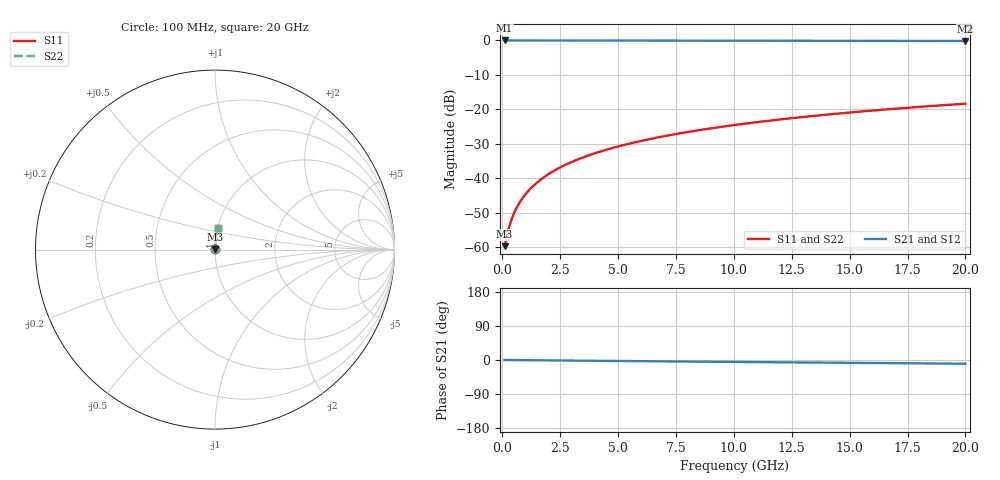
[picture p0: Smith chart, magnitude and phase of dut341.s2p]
! Touchstone file exported from HFSS 2024.1.0
!  File:  C:/UserFiles/LocalFiles/RDL_TSV_Batchsim/temp_RDL_bottom_341_1779611961.aedt
!  Generated:  04:41:45 PM May 24, 2026
!  Design:  RDL_bottom
!  Project:  temp_RDL_bottom_341_1779611961
!  Setup:  Setup1
!  Solution:  Sweep
! Variables:
!  dtsv = 10.80580581um
!  hbump = 3um
!  htsv = 82.89um
!  ldown = 108.64um
!  lrdl = 100um
!  p = 40
!  p1 = 41.01um
!  rhole = 1um
!  t = 450um
!  tdown = 3.71um
!  trdl = 3.915915916um
!  wdown = 15.64um
!  wrdl = 20um
# GHz S MA R 50.000000
! Terminal data exported
! Port[1] = RDL1_T1
! Port[2] = RDL1_T2
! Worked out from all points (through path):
!   200 points, 100 MHz to 20 GHz, reference 50 ohm
!   highest |S21| = -0.01 dB at 100 MHz (marker M1); lowest = -0.2 dB at 20 GHz (marker M2)
!   group delay of S21, straight-line fit = 1.35 ps
!   lowest |S11| = -59.6 dB at 100 MHz (marker M3), VSWR 1.00, Z = 50.1 + j0.0613 ohm
!   |S11| at or under -10 dB: start of sweep to end of sweep
!   |S22| runs from -59.6 to -18.3 dB; largest |S21 - S12| = 2.4e-15
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0.1  0.001044 35.9  0.9992 -0.1  0.9992 -0.1  0.001044 35.9
! Gamma 0 0 0 0
! Port Impedance 50 0 50 0
0.2  0.001492 54.4  0.9991 -0.1  0.9991 -0.1  0.001492 54.4
0.3  0.002012 63.6  0.9991 -0.2  0.9991 -0.2  0.002012 63.6
0.4  0.002553 68.9  0.9991 -0.2  0.9991 -0.2  0.002553 68.9
0.5  0.003101 72.4  0.999 -0.3  0.999 -0.3  0.003101 72.4
0.6  0.003653 74.9  0.999 -0.3  0.999 -0.3  0.003653 74.9
0.8  0.004767 78.2  0.999 -0.4  0.999 -0.4  0.004767 78.2
1.1  0.006455 81.1  0.9989 -0.6  0.9989 -0.6  0.006455 81.1
1.5  0.008726 83.3  0.9988 -0.8  0.9988 -0.8  0.008726 83.3
1.8  0.01044 84.3  0.9986 -1.0  0.9986 -1.0  0.01044 84.3
2.1  0.01216 85.1  0.9985 -1.1  0.9985 -1.1  0.01216 85.1
2.7  0.01562 86.1  0.9982 -1.4  0.9982 -1.4  0.01562 86.1
3.5  0.02026 86.8  0.9978 -1.9  0.9978 -1.9  0.02026 86.8
4.2  0.02436 87.1  0.9973 -2.2  0.9973 -2.2  0.02436 87.1
5  0.02907 87.4  0.9966 -2.6  0.9966 -2.6  0.02907 87.4
5.9  0.03441 87.5  0.9958 -3.1  0.9958 -3.1  0.03442 87.5
6.8  0.03981 87.4  0.995 -3.5  0.995 -3.5  0.03981 87.4
8.3  0.04889 87.2  0.9935 -4.3  0.9935 -4.3  0.04889 87.2
10.1  0.05991 86.7  0.9917 -5.2  0.9917 -5.2  0.05991 86.7
13.4  0.08033 85.4  0.9883 -6.7  0.9883 -6.7  0.08033 85.4
16.7  0.1008 83.9  0.9849 -8.3  0.9849 -8.3  0.1008 83.9
20  0.1212 82.3  0.9814 -9.8  0.9814 -9.8  0.1212 82.3
